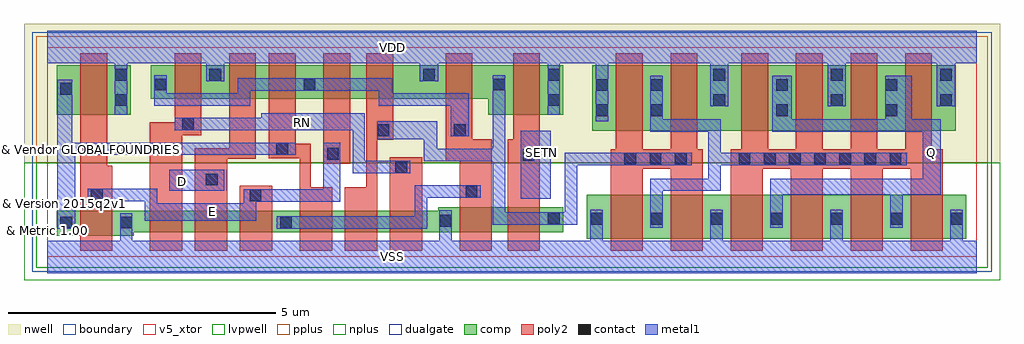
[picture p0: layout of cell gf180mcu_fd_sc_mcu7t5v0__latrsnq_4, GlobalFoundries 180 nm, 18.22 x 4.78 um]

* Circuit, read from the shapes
.subckt gf180mcu_fd_sc_mcu7t5v0__latrsnq_4 D E Q RN SETN VDD VSS
XM1 VSS E n1 VSUBS nfet_05v0 w=0.465u l=0.6u
XM2 n2 RN VSS VSUBS nfet_05v0 w=0.395u l=0.6u
XM3 n3 D n2 VSUBS nfet_05v0 w=0.395u l=0.6u
XM4 n4 E n3 VSUBS nfet_05v0 w=0.395u l=0.6u
XM5 n5 n1 n4 VSUBS nfet_05v0 w=0.395u l=0.6u
XM6 n6 n7 n5 VSUBS nfet_05v0 w=0.395u l=0.6u
XM7 VSS RN n6 VSUBS nfet_05v0 w=0.395u l=0.6u
XM8 n8 n4 VSS VSUBS nfet_05v0 w=0.465u l=0.6u
XM9 n7 SETN n8 VSUBS nfet_05v0 w=0.465u l=0.6u
XM10 n9 n7 VSS VSUBS nfet_05v0 w=0.82u l=0.6u m=2
XM11 Q n9 VSS VSUBS nfet_05v0 w=0.82u l=0.6u m=4
XM12 VDD E n1 n10 pfet_05v0 w=0.925u l=0.5u
XM13 VDD RN n4 n10 pfet_05v0 w=0.63u l=0.5u
XM14 n11 D VDD n10 pfet_05v0 w=0.63u l=0.5u
XM15 n4 n1 n11 n10 pfet_05v0 w=0.63u l=0.5u
XM16 n12 E n4 n10 pfet_05v0 w=0.63u l=0.5u
XM17 VDD n7 n12 n10 pfet_05v0 w=0.63u l=0.5u
XM18 n7 n4 VDD n10 pfet_05v0 w=0.63u l=0.5u
XM19 VDD SETN n7 n10 pfet_05v0 w=0.925u l=0.5u
XM20 n9 n7 VDD n10 pfet_05v0 w=1.22u l=0.5u m=2
XM21 Q n9 VDD n10 pfet_05v0 w=1.22u l=0.5u m=4
.ends

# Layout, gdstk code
import gdstk
lib = gdstk.Library(unit=1e-6, precision=1e-09)
def R(c, l, rs):  # rectangles x0, y0, x1, y1
    for r in rs: c.add(gdstk.rectangle(r[:2], r[2:], *l))
def A(c, l, x, y, w, h, nx, ny, dx, dy):  # array of equal rectangles
    R(c, l, [(x+i*dx, y+j*dy, x+i*dx+w, y+j*dy+h) for i in range(nx) for j in range(ny)])
def P(c, l, *ps):  # polygons
    for p in ps: c.add(gdstk.Polygon(p, *l))
boundary = (0, 0)
nwell = (21, 0)
comp = (22, 0)
poly2 = (30, 0)
pplus = (31, 0)
nplus = (32, 0)
contact = (33, 0)
metal1 = (34, 0)
dualgate = (55, 0)
v5_xtor = (112, 1)
lvpwell = (204, 0)

gf180mcu_fd_sc_mcu7t5v0_ = lib.new_cell('gf180mcu_fd_sc_mcu7t5v0__latrsnq_4')
R(gf180mcu_fd_sc_mcu7t5v0_, boundary, [(0,0,17.36,3.92)])
R(gf180mcu_fd_sc_mcu7t5v0_, nwell, [(-0.43,1.76,17.79,4.35)])
R(gf180mcu_fd_sc_mcu7t5v0_, comp, [(10.08,0.34,17.16,1.16), (10.18,2.36,16.96,3.58), (0.18,2.655,1.56,3.58)])
P(gf180mcu_fd_sc_mcu7t5v0_, comp, [(0.18,0.395),(0.18,0.86),(7.3,0.86),(7.3,0.93),(9.64,0.93),(9.64,0.465),(1.62,0.465),(1.62,0.395)],
  [(8.24,2.655),(8.24,2.95),(1.94,2.95),(1.94,3.58),(9.64,3.58),(9.64,2.655)])
R(gf180mcu_fd_sc_mcu7t5v0_, poly2, [(3.6,0.12,4.2,1.33), (6.4,0.12,7,1.86), (5.16,1.745,5.66,3.8)])
P(gf180mcu_fd_sc_mcu7t5v0_, poly2, [(0.62,0.12),(0.62,3.8),(1.12,3.8),(1.12,1.7),(1.22,1.7),(1.22,0.12)],
  [(1.92,0.12),(1.92,2.52),(2.38,2.52),(2.38,3.8),(2.88,3.8),(2.88,2.27),(2.52,2.27),(2.52,0.12)],
  [(2.76,0.12),(2.76,2.03),(3.4,2.03),(3.4,3.8),(3.9,3.8),(3.9,1.83),(3.36,1.83),(3.36,0.12)],
  [(4.72,0.12),(4.72,1.84),(4.14,1.84),(4.14,3.8),(4.64,3.8),(4.64,2.115),(4.92,2.115),(4.92,1.3),(5.32,1.3),(5.32,0.12)],
  [(5.56,0.12),(5.56,1.3),(5.96,1.3),(5.96,3.8),(6.46,3.8),(6.46,2.185),(6.16,2.185),(6.16,0.12)],
  [(7.7,0.12),(7.7,1.79),(7.44,1.79),(7.44,3.8),(7.94,3.8),(7.94,2.2),(8.3,2.2),(8.3,0.12)],
  [(8.6,0.12),(8.6,2.2),(8.7,2.2),(8.7,3.8),(9.2,3.8),(9.2,0.12)],
  [(10.52,0.12),(10.52,2.01),(10.62,2.01),(10.62,3.8),(11.12,3.8),(11.12,2.01),(11.64,2.01),(11.64,3.8),(12.14,3.8),(12.14,2.01),(12.24,2.01),(12.24,0.12),(11.64,0.12),(11.64,1.65),(11.12,1.65),(11.12,0.12)],
  [(12.76,0.12),(12.76,2.01),(12.96,2.01),(12.96,3.8),(13.46,3.8),(13.46,2.01),(13.98,2.01),(13.98,3.8),(14.48,3.8),(14.48,2.01),(15,2.01),(15,3.8),(15.5,3.8),(15.5,2.01),(16.02,2.01),(16.02,3.8),(16.52,3.8),(16.52,2.01),(16.72,2.01),(16.72,0.12),(16.12,0.12),(16.12,1.65),(15.6,1.65),(15.6,0.12),(15,0.12),(15,1.65),(14.48,1.65),(14.48,0.12),(13.88,0.12),(13.88,1.65),(13.36,1.65),(13.36,0.12)])
R(gf180mcu_fd_sc_mcu7t5v0_, pplus, [(-0.2,1.76,17.56,4.12)])
R(gf180mcu_fd_sc_mcu7t5v0_, nplus, [(-0.2,-0.2,17.56,1.76)])
A(gf180mcu_fd_sc_mcu7t5v0_, contact, 10.15, 0.605, 0.22, 0.22, 7, 1, 1.12, 0)
A(gf180mcu_fd_sc_mcu7t5v0_, contact, 10.78, 1.72, 0.22, 0.22, 3, 1, 0.47, 0)
A(gf180mcu_fd_sc_mcu7t5v0_, contact, 12.91, 1.72, 0.22, 0.22, 7, 1, 0.47, 0)
R(gf180mcu_fd_sc_mcu7t5v0_, contact, [(0.25,0.535,0.47,0.755), (1.37,0.535,1.59,0.755), (4.35,0.535,4.57,0.755), (7.33,0.565,7.55,0.785), (9.35,0.61,9.57,0.83), (3.78,1.04,4,1.26), (0.82,1.05,1.04,1.27), (7.815,1.11,8.035,1.33), (2.965,1.335,3.185,1.555), (6.5,1.57,6.72,1.79), (8.88,1.795,9.1,2.015), (5.23,1.815,5.45,2.035), (4.28,1.91,4.5,2.13), (6.17,2.255,6.39,2.475), (7.595,2.255,7.815,2.475), (2.52,2.37,2.74,2.59), (10.25,2.63,10.47,2.85), (11.27,2.63,11.49,2.85), (13.61,2.63,13.83,2.85), (15.65,2.63,15.87,2.85), (1.27,2.82,1.49,3.04), (9.35,2.82,9.57,3.04), (12.44,2.82,12.66,3.04), (14.63,2.82,14.85,3.04), (16.67,2.82,16.89,3.04), (0.25,3.03,0.47,3.25), (10.25,3.1,10.47,3.32), (11.27,3.1,11.49,3.32), (13.61,3.1,13.83,3.32), (15.65,3.1,15.87,3.32), (2.01,3.11,2.23,3.33), (4.79,3.11,5.01,3.33), (8.33,3.11,8.55,3.33), (1.27,3.29,1.49,3.51), (3.03,3.29,3.25,3.51), (7.02,3.29,7.24,3.51), (9.35,3.29,9.57,3.51), (12.44,3.29,12.66,3.51), (14.63,3.29,14.85,3.51), (16.67,3.29,16.89,3.51)])
R(gf180mcu_fd_sc_mcu7t5v0_, metal1, [(8.84,1.085,9.4,2.355), (2.285,1.24,3.31,1.63)])
P(gf180mcu_fd_sc_mcu7t5v0_, metal1, [(0.19,0.53),(0.19,3.31),(0.475,3.31),(0.475,2.135),(4.64,2.135),(4.64,1.905),(0.53,1.905),(0.53,0.53)],
  [(1.825,0.68),(1.825,1.045),(0.76,1.045),(0.76,1.275),(2.055,1.275),(2.055,1),(3.675,1),(3.675,1.265),(5.16,1.265),(5.16,2.135),(5.475,2.135),(5.475,1.035),(3.905,1.035),(3.905,0.68)],
  [(5.705,1.565),(5.705,2.365),(2.38,2.365),(2.38,2.595),(4,2.595),(4,2.68),(5.935,2.68),(5.935,1.795),(6.78,1.795),(6.78,1.565)],
  [(7.535,2.25),(7.535,2.825),(6.195,2.825),(6.195,3.105),(3.79,3.105),(3.79,2.825),(2.005,2.825),(2.005,3.39),(2.235,3.39),(2.235,3.055),(3.56,3.055),(3.56,3.335),(6.445,3.335),(6.445,3.055),(7.875,3.055),(7.875,2.25)],
  [(4.29,0.53),(4.29,0.76),(6.865,0.76),(6.865,1.335),(8.095,1.335),(8.095,1.105),(7.095,1.105),(7.095,0.53)],
  [(8.325,0.605),(8.325,1.79),(7.03,1.79),(7.03,2.195),(6.165,2.195),(6.165,2.535),(7.28,2.535),(7.28,2.02),(8.325,2.02),(8.325,3.39),(8.555,3.39),(8.555,0.835),(9.665,0.835),(9.665,1.945),(12.04,1.945),(12.04,1.715),(9.895,1.715),(9.895,0.605)],
  [(11.265,0.545),(11.265,1.465),(12.345,1.465),(12.345,2.34),(11.265,2.34),(11.265,3.38),(11.495,3.38),(11.495,2.57),(12.575,2.57),(12.575,1.945),(16.05,1.945),(16.05,1.715),(12.575,1.715),(12.575,1.235),(11.495,1.235),(11.495,0.545)],
  [(13.505,0.545),(13.505,1.465),(16.35,1.465),(16.35,2.34),(13.54,2.34),(13.54,3.38),(13.9,3.38),(13.9,2.57),(15.645,2.57),(15.645,3.38),(16.14,3.38),(16.14,2.57),(16.68,2.57),(16.68,1.16),(15.975,1.16),(15.975,0.545),(15.745,0.545),(15.745,1.16),(13.735,1.16),(13.735,0.545)],
  [(0,-0.3),(0,0.3),(1.365,0.3),(1.365,0.815),(1.595,0.815),(1.595,0.3),(7.325,0.3),(7.325,0.875),(7.555,0.875),(7.555,0.3),(10.145,0.3),(10.145,0.885),(10.375,0.885),(10.375,0.3),(12.385,0.3),(12.385,0.885),(12.615,0.885),(12.615,0.3),(14.625,0.3),(14.625,0.885),(14.855,0.885),(14.855,0.3),(16.865,0.3),(16.865,0.885),(17.095,0.885),(17.095,0.3),(17.36,0.3),(17.36,-0.3)],
  [(10.245,2.53),(10.245,3.62),(9.575,3.62),(9.575,2.655),(9.345,2.655),(9.345,3.62),(7.3,3.62),(7.3,3.285),(6.96,3.285),(6.96,3.62),(3.31,3.62),(3.31,3.285),(2.97,3.285),(2.97,3.62),(1.495,3.62),(1.495,2.655),(1.265,2.655),(1.265,3.62),(0,3.62),(0,4.22),(17.36,4.22),(17.36,3.62),(16.95,3.62),(16.95,2.815),(16.61,2.815),(16.61,3.62),(14.91,3.62),(14.91,2.815),(14.57,2.815),(14.57,3.62),(12.72,3.62),(12.72,2.815),(12.38,2.815),(12.38,3.62),(10.475,3.62),(10.475,2.53)])
R(gf180mcu_fd_sc_mcu7t5v0_, dualgate, [(-0.28,-0.28,17.64,4.2)])
R(gf180mcu_fd_sc_mcu7t5v0_, v5_xtor, [(0,0,17.36,3.92)])
R(gf180mcu_fd_sc_mcu7t5v0_, lvpwell, [(-0.43,-0.43,17.79,1.76)])
gf180mcu_fd_sc_mcu7t5v0_.add(gdstk.Label('RN', (4.76,2.52), layer=34, texttype=10))
gf180mcu_fd_sc_mcu7t5v0_.add(gdstk.Label('SETN', (9.24,1.96), layer=34, texttype=10))
gf180mcu_fd_sc_mcu7t5v0_.add(gdstk.Label('Q', (16.52,1.96), layer=34, texttype=10))
gf180mcu_fd_sc_mcu7t5v0_.add(gdstk.Label('D', (2.52,1.4), layer=34, texttype=10))
gf180mcu_fd_sc_mcu7t5v0_.add(gdstk.Label('VSS', (6.44,0), layer=34, texttype=10))
gf180mcu_fd_sc_mcu7t5v0_.add(gdstk.Label('VDD', (6.44,3.92), layer=34, texttype=10))
gf180mcu_fd_sc_mcu7t5v0_.add(gdstk.Label('E', (3.08,0.84), layer=34, texttype=10))
gf180mcu_fd_sc_mcu7t5v0_.add(gdstk.Label('& Vendor GLOBALFOUNDRIES', (0,2), layer=63, texttype=63))
gf180mcu_fd_sc_mcu7t5v0_.add(gdstk.Label('& Product GF018hv5v_mcu_sc7', (0,1.5), layer=63, texttype=63))
gf180mcu_fd_sc_mcu7t5v0_.add(gdstk.Label('& Version 2015q2v1', (0,1), layer=63, texttype=63))
gf180mcu_fd_sc_mcu7t5v0_.add(gdstk.Label('& Metric 1.00', (0,0.5), layer=63, texttype=63))

lib.write_gds('gf180mcu_fd_sc_mcu7t5v0__latrsnq_4.gds')
